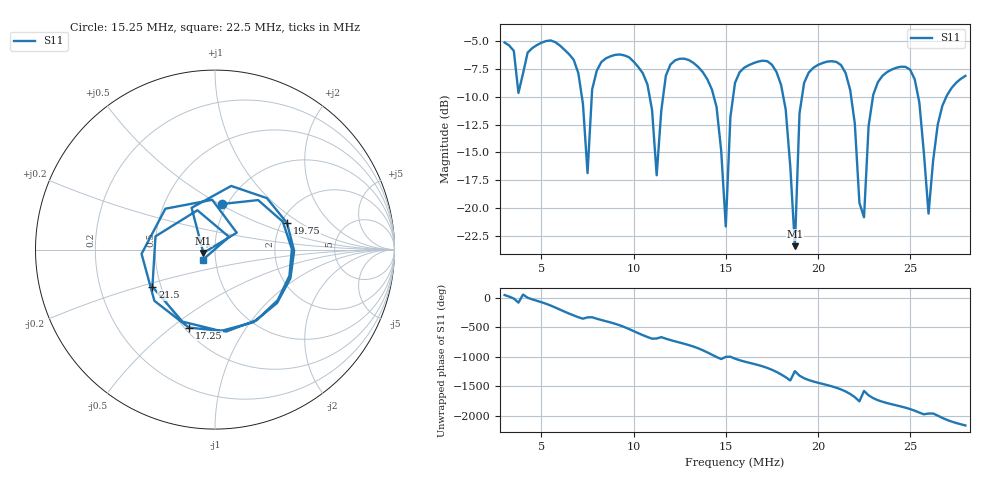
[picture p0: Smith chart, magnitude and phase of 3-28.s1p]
# HZ S RI R 50
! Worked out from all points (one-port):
!   101 points, 3 MHz to 28 MHz, reference 50 ohm
!   lowest |S11| = -23.5 dB at 18.75 MHz (marker M1), VSWR 1.14, Z = 43.9 - j1.61 ohm
!   |S11| at or under -10 dB: 14.35 MHz to 15.4 MHz (1.043 MHz wide, 7.01 % of centre); 18.12 MHz to 19.13 MHz (1.012 MHz wide, 5.43 % of centre); 25.44 MHz to 26.96 MHz (1.521 MHz wide, 5.8 % of centre)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
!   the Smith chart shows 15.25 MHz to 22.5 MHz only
!   S11 on the Smith chart (normalised r, x): 15.25 MHz: 0.94, +0.51; 17.25 MHz: 0.53, -0.58; 19.75 MHz: 2.15, +0.78; 21.5 MHz: 0.45, -0.22; 22.5 MHz: 0.86, -0.10
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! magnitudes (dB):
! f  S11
! 3 MHz  -5.1
! 3.75 MHz  -9.6
! 6.25 MHz  -5.8
! 7 MHz  -7.9
! 7.5 MHz  -16.9
! 8 MHz  -7.6
! 9.25 MHz  -6.2
! 10.75 MHz  -8.9
! 11.25 MHz  -17.1
! 11.75 MHz  -8.1
! 12.5 MHz  -6.6
! 14.25 MHz  -9.3
! 15 MHz  -21.7
! 15.25 MHz  -11.8
! 15.5 MHz  -8.7
! 17.25 MHz  -6.8
! 18.25 MHz  -11.1
! 18.75 MHz  -23.5
! 19 MHz  -11.5
! 19.75 MHz  -7.4
! 21.5 MHz  -7.8
! 21.75 MHz  -9.4
! 22.5 MHz  -20.8
! 23 MHz  -9.8
! 25 MHz  -7.5
! 26 MHz  -20.5
! 26.75 MHz  -10.8
! 28 MHz  -8.1
